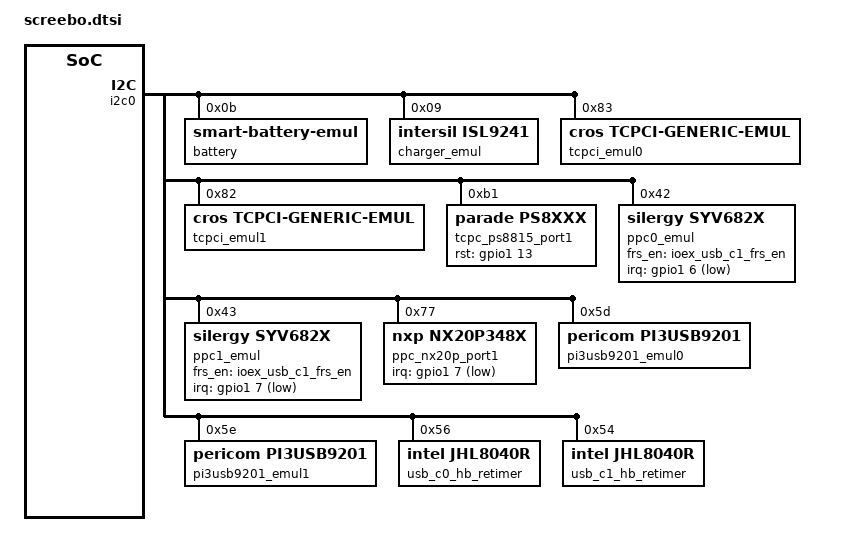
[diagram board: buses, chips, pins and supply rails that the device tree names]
/* Copyright 2023 The ChromiumOS Authors
 * Use of this source code is governed by a BSD-style license that can be
 * found in the LICENSE file.
 */

#include "../native_sim.overlay"
#include "../../../../program/rex/screebo/cbi.dtsi"

#include <dt-bindings/gpio_defines.h>
#include <dt-bindings/usb_pd_tcpm.h>

/ {
	usbc {
		#address-cells = <1>;
		#size-cells = <0>;
		port0@0 {
			compatible = "named-usbc-port";
			reg = <0>;

			bc12 = <&pi3usb9201_emul0>;
			tcpc = <&tcpci_emul0>;
			ppc = <&ppc0_emul>;
			chg = <&charger_emul>;
			usb-mux-chain-0 {
				compatible = "cros-ec,usb-mux-chain";
				usb-muxes = <&usb_c0_hb_retimer
					     &virtual_mux_c0>;
			};
			usb_mux_chain_usb3_port0: usb-mux-chain-0-usb3 {
				compatible = "cros-ec,usb-mux-chain";
				usb-muxes = <&virtual_mux_c0>;
				alternative-chain;
			};
		};
		port0-muxes {
			virtual_mux_c0: virtual-mux-c0 {
				compatible = "cros-ec,usbc-mux-virtual";
			};
		};

		port1@1 {
			compatible = "named-usbc-port";
			reg = <1>;

			bc12 = <&pi3usb9201_emul1>;
			tcpc = <&tcpci_emul1>;
			ppc = <&ppc1_emul>;
			usb-mux-chain-1 {
				compatible = "cros-ec,usb-mux-chain";
				usb-muxes = <&usb_c1_hb_retimer
					     &virtual_mux_c1>;
			};
			usb_mux_chain_ps8815_port1: usb-mux-chain-ps8815-1 {
				compatible = "cros-ec,usb-mux-chain";
				usb-muxes = <&tcpci_mux_c1>;
				alternative-chain;
			};
		};
		port1-muxes {
			virtual_mux_c1: virtual-mux-c1 {
				compatible = "cros-ec,usbc-mux-virtual";
			};
			tcpci_mux_c1: tcpci-mux-c1 {
				compatible = "cros-ec,usbc-mux-tcpci";
			};
		};
	};

	named-i2c-ports {
		compatible = "named-i2c-ports";

		named_i2c0: i2c0 {
			i2c-port = <&i2c0>;
			enum-names = "I2C_PORT_USB_MUX",
						 "I2C_PORT_BATTERY";
		};
	};

	batteries {
		default_battery: lgc_ac17a8m {
			compatible = "lgc,ac17a8m", "battery-smart";
			/**
			 * this has to be strictly lower than the desired
			 * voltage in smart battery emulator (5000mV).
			 */
			voltage_min = <4000>;
		};
	};

	named-gpios {
		compatible = "named-gpios";

		gpio_usb_c0_ppc_int_odl: usb_c0_ppc_int_odl {
			gpios = <&gpio1 6 (GPIO_INPUT | GPIO_ACTIVE_LOW)>;
			enum-name = "GPIO_USB_C0_PPC_INT_ODL";
		};
		gpio_usb_c1_ppc_int_odl: usb_c1_ppc_int_odl {
			gpios = <&gpio1 7 (GPIO_INPUT | GPIO_ACTIVE_LOW)>;
			enum-name = "GPIO_USB_C1_PPC_INT_ODL";
		};
		gpio_usb_c1_rt_3p3_sx_en: usb_c1_rt_3p3_sx_en {
			gpios = <&gpio1 8 0>;
		};
		ioex_usb_c1_rt_rst_ls_l: usb_c1_rt_rst_ls_l {
			gpios = <&gpio1 9 0>;
		};
		ioex_usb_c1_frs_en: usb_c1_frs_en {
			gpios = <&gpio1 10 0>;
		};
		gpio_usb_c0_rt_3p3_sx_en: usb_c0_rt_3p3_sx_en {
			gpios = <&gpio1 11 GPIO_ODR_LOW>;
		};
		gpio_usb_c0_rt_int_odl: usb_c0_rt_int_odl {
			gpios = <&gpio1 12 GPIO_INPUT>;
		};
		ioex_usb_c0_rt_rst_ls_l: usb_c0_rt_rst_ls_l {
			gpios = <&gpio1 13 0>;
		};
		gpio_ec_pwr_btn_odl: ec_pwr_btn_odl {
			gpios = <&gpio1 14 GPIO_INPUT>;
			enum-name = "GPIO_POWER_BUTTON_L";
		};
		gpio_usb_c0_bc12_int_odl: usb_c0_bc12_int_odl {
			gpios = <&gpio1 15 GPIO_INPUT>;
			enum-name = "GPIO_USB_C0_BC12_INT_ODL";
		};
		gpio_usb_c1_bc12_int_odl: usb_c1_bc12_int_odl {
			gpios = <&gpio1 16 GPIO_INPUT>;
			enum-name = "GPIO_USB_C1_BC12_INT_ODL";
		};
		gpio_usb_c0_hbr_rst_l: usb_c0_hbr_rst_l {
			gpios = <&gpio1 17 GPIO_OUTPUT_HIGH>;
		};
		gpio_usb_c1_hbr_rst_l: usb_c1_hbr_rst_l {
			gpios = <&gpio1 18 GPIO_OUTPUT_HIGH>;
		};
	};

	aliases {
		ps-usb-c1-rt-rst-odl = &gpio_usb_c1_rt_rst_r_odl;
		nct-usb-c1-rst-odl = &gpio_usb_c1_rst_odl;
		hbr-usb-c1-rt-int-odl = &gpio_usb_c1_rt_int_odl;
		hbr-usb-c1-rt-pwr-en = &gpio_usb_c1_rt_3p3_sx_en;
		hbr-usb-c1-rt-rst = &ioex_usb_c1_rt_rst_ls_l;
		syv-usb-c1-frs-en = &ioex_usb_c1_frs_en;
	};
};

&i2c0 {
	status = "okay";

	battery: sb@b {
		compatible = "zephyr,smart-battery-emul";
		status = "okay";
		reg = <0xb>;
		cycle-count = <99>;
		version = "BATTERY_SPEC_VER_1_1_WITH_PEC";
		/* Real battery voltages are multiples of 4.4V. */
		desired-charg-volt = <5000>;
		desired-charg-cur = <1000>;
		mf-name = "LGC";
		dev-name = "AC17A8M";
	};

	charger_emul: isl9241@9 {
		compatible = "intersil,isl9241";
		status = "okay";
		reg = <0x9>;
	};

	tcpci_emul0: tcpci_emul@83 {
		compatible = "cros,tcpci-generic-emul";
		status = "okay";
		reg = <0x83>;
	};

	tcpci_emul1: tcpci_emul@82 {
		compatible = "cros,tcpci-generic-emul";
		status = "okay";
		reg = <0x82>;
	};

	tcpc_ps8815_port1: ps8xxx@b1 {
		compatible = "parade,ps8xxx", "cros,i2c-mock";
		reg = <0xb1>;
		tcpc-flags = <(
			TCPC_FLAGS_TCPCI_REV2_0 |
			TCPC_FLAGS_TCPCI_REV2_0_NO_VSAFE0V |
			TCPC_FLAGS_CONTROL_VCONN |
			TCPC_FLAGS_CONTROL_FRS)>;
		rst-gpios = <&gpio1 13 GPIO_ACTIVE_HIGH>;
		is-alt;
	};

	ppc0_emul: syv682x@42 {
		compatible = "silergy,syv682x", "cros,i2c-mock";
		status = "okay";
		reg = <0x42>;
		frs_en_gpio = <&ioex_usb_c1_frs_en>;
		irq-gpios = <&gpio1 6 GPIO_ACTIVE_LOW>;
	};

	ppc1_emul: syv682x@43 {
		compatible = "silergy,syv682x", "cros,i2c-mock";
		status = "okay";
		reg = <0x43>;
		frs_en_gpio = <&ioex_usb_c1_frs_en>;
		irq-gpios = <&gpio1 7 GPIO_ACTIVE_LOW>;
	};

	ppc_nx20p_port1: nx20p348x@77 {
		compatible = "nxp,nx20p348x";
		status = "okay";
		reg = <0x77>;
		irq-gpios = <&gpio1 7 GPIO_ACTIVE_LOW>;
		is-alt;
	};

	pi3usb9201_emul0: pi3usb9201@5d {
		compatible = "pericom,pi3usb9201";
		status = "okay";
		reg = <0x5d>;
	};

	pi3usb9201_emul1: pi3usb9201@5e {
		compatible = "pericom,pi3usb9201";
		status = "okay";
		reg = <0x5e>;
	};

	usb_c0_hb_retimer: jhl9040r-c0@56 {
		compatible = "intel,jhl8040r";
		reg = <0x56>;
		ls-en-pin = <&gpio_usb_c0_rt_3p3_sx_en>;
		int-pin = <&gpio_usb_c0_rt_int_odl>;
		reset-pin = <&gpio_usb_c0_hbr_rst_l>;
	};

	usb_c1_hb_retimer: jhl9040r-c1@54 {
		compatible = "intel,jhl8040r";
		reg = <0x54>;
		ls-en-pin = <&gpio_usb_c1_rt_3p3_sx_en>;
		int-pin = <&gpio_usb_c1_rt_int_odl>;
		reset-pin = <&gpio_usb_c1_hbr_rst_l>;
	};
};
